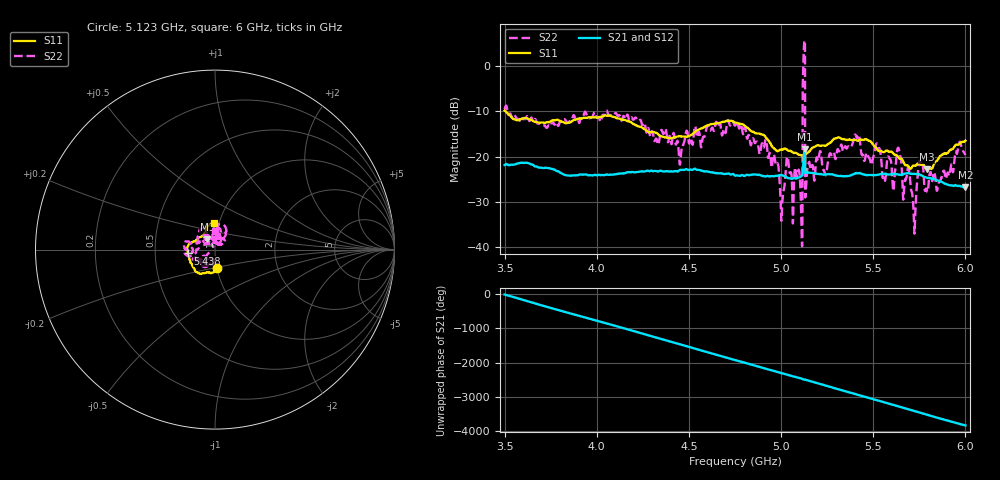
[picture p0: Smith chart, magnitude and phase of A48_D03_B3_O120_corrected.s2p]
! Created with skrf 1.9.0 (http://scikit-rf.org).
# Hz S RI R 50.0
!freq ReS11 ImS11 ReS21 ImS21 ReS12 ImS12 ReS22 ImS22
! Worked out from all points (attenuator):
!   1601 points, 3.5 GHz to 6 GHz, reference 50 ohm
!   highest |S21| = -18.43 dB at 5.128 GHz (marker M1); lowest = -26.8 dB at 6 GHz (marker M2)
!   lowest |S11| = -22.8 dB at 5.791 GHz (marker M3), VSWR 1.16, Z = 45.6 + j5.32 ohm
!   |S11| at or under -10 dB: 3.506 GHz to end of sweep
!   |S22| runs from -39.9 to 5.7 dB; largest |S21 - S12| = 0.001
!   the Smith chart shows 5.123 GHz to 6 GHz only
!   S11 on the Smith chart (normalised r, x): 5.123 GHz: 1.00, -0.21; 5.438 GHz: 0.74, -0.03; 6 GHz: 0.94, +0.29
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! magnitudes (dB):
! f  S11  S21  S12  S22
! 3.5 GHz  -9.8  -21.9  -21.9  -9.5
! 3.917 GHz  -11.6  -24.0  -24.0  -11.0
! 4.334 GHz  -15.1  -23.3  -23.2  -17.3
! 4.455 GHz  -15.5  -22.9  -22.9  -20.7
! 4.75 GHz  -12.5  -24.2  -24.1  -13.2
! 4.97 GHz  -18.5  -24.3  -24.2  -21.6
! 5.006 GHz  -18.5  -24.2  -24.1  -30.4
! 5.037 GHz  -18.7  -24.8  -24.7  -20.4
! 5.103 GHz  -19.7  -24.5  -24.5  -25.6
! 5.123 GHz  -19.8  -19.8  -19.8  3.8
! 5.128 GHz  -19.6  -18.4  -18.4  5.6
! 5.144 GHz  -19.2  -23.6  -23.5  -22.4
! 5.167 GHz  -18.1  -23.6  -23.6  -22.1
! 5.438 GHz  -16.3  -23.8  -23.9  -19.5
! 5.559 GHz  -19.0  -23.8  -23.8  -24.9
! 5.584 GHz  -18.9  -24.0  -23.9  -20.0
! 5.611 GHz  -19.4  -23.8  -23.7  -27.1
! 5.639 GHz  -20.3  -24.0  -24.0  -18.4
! 5.72 GHz  -22.0  -23.8  -23.8  -33.5
! 5.755 GHz  -21.7  -24.1  -24.0  -21.1
! 5.791 GHz  -22.8  -24.7  -24.6  -27.4
! 6 GHz  -16.5  -26.8  -26.8  -19.6
